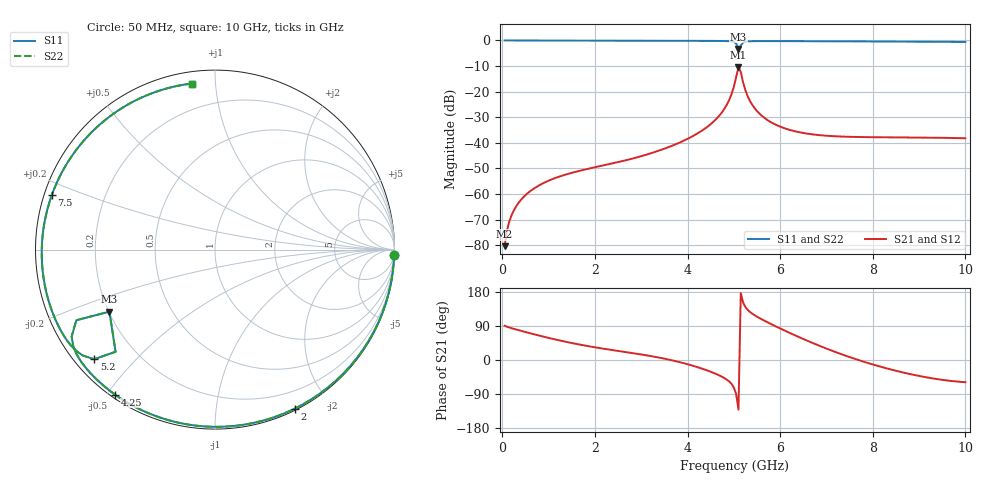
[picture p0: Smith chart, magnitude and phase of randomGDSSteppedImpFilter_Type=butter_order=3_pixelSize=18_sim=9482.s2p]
! freq	dB(S11)	phase(S11)	dB(S12)	phase(S12)
!  dB(S21)	phase(S21)	dB(S22)	phase(S22)
!S-par simulation data
#  GHz  S  DB  R 50
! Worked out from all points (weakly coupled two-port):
!   200 points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, 50 MHz to 10 GHz, reference 50 ohm
!   highest |S21| = -10.48 dB at 5.1 GHz (marker M1); lowest = -80.3 dB at 50 MHz (marker M2)
!   lowest |S11| = -3.3 dB at 5.1 GHz (marker M3), VSWR 5.30, Z = 10.1 - j13.1 ohm
!   |S11| at or under -10 dB: nowhere
!   |S22| runs from -3.3 to 0.0 dB; largest |S21 - S12| = 0
!   S11 on the Smith chart (normalised r, x): 50 MHz: 2, -72; 2 GHz: 0.02, -1.62; 4.25 GHz: 0.01, -0.53; 5.2 GHz: 0.06, -0.39; 7.5 GHz: 0.02, +0.16; 10 GHz: 0.06, +0.87
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0.05  -0.01 -1.6  -80.34 90.5  -80.34 90.5  -0.01 -1.6
0.1  -0.01 -3.2  -74.28 87.8  -74.28 87.8  -0.01 -3.2
0.2  -0.02 -6.5  -68.27 83.9  -68.27 83.9  -0.02 -6.5
0.5  -0.02 -16.4  -60.43 73.8  -60.43 73.8  -0.02 -16.4
1  -0.04 -32.5  -54.77 58.3  -54.77 58.3  -0.04 -32.5
1.75  -0.07 -55.9  -50.55 38.9  -50.55 38.9  -0.07 -55.9
2  -0.08 -63.3  -49.52 33.5  -49.52 33.5  -0.08 -63.3
3.4  -0.13 -102.5  -42.92 6.0  -42.92 6.0  -0.13 -102.5
4.25  -0.16 -124.5  -35.93 -20.3  -35.93 -20.3  -0.16 -124.6
4.8  -0.24 -139.6  -26.58 -48.1  -26.58 -48.1  -0.24 -139.6
4.95  -0.39 -145.6  -20.97 -63.1  -20.97 -63.1  -0.39 -145.7
5.05  -1.24 -153.0  -14.25 -90.1  -14.25 -90.1  -1.24 -153.0
5.1  -3.32 -149.6  -10.48 -131.0  -10.48 -131.0  -3.32 -149.6
5.15  -2.00 -134.2  -12.32 176.6  -12.32 176.6  -2.00 -134.2
5.2  -0.83 -137.8  -16.37 151.6  -16.37 151.6  -0.83 -137.8
5.35  -0.33 -145.9  -23.70 126.6  -23.70 126.6  -0.33 -145.9
5.65  -0.26 -154.8  -30.09 104.3  -30.09 104.3  -0.26 -154.8
6.1  -0.27 -165.9  -34.33 77.5  -34.33 77.5  -0.27 -165.9
6.7  -0.31 -179.9  -36.69 44.9  -36.69 44.9  -0.31 -179.9
7.5  -0.37 161.4  -37.64 7.7  -37.64 7.7  -0.37 161.4
8.35  -0.44 140.9  -37.84 -23.7  -37.84 -23.7  -0.44 140.9
10  -0.59 98.0  -38.21 -58.6  -38.21 -58.6  -0.59 97.9
